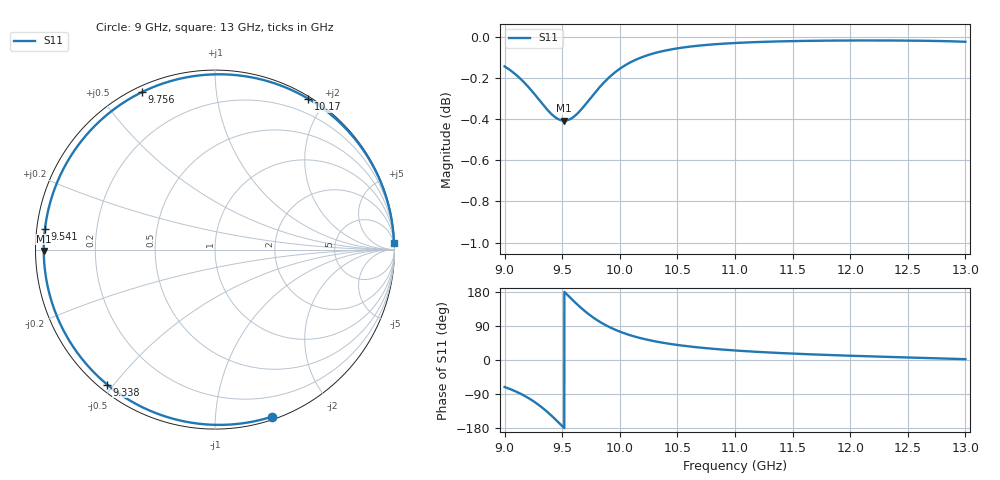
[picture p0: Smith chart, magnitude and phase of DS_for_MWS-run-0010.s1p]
! TOUCHSTONE file generated by CST DESIGN STUDIO
! Date and time: Tue Feb  4 17:03:26 2025
! Project name: C:\Work\MatlabApps\UnitCellOptimizationMatlab\CST\unitcell.cst
! Tree item: Tasks\Sweep1\SPara1\S-Parameters
! Header version: 2024
! Port assignment regex: !\s*Touchstone port\s*([0-9]+)\s*=\s*(CST MWS port|CST DES external port|CST DES block port)\s*(.+)\s* \(\"(.*)\"\)(\s*mode\s*([0-9]+))?.*
! Touchstone port assignment:
! Touchstone port 1 = CST DES external port 1 ("")
# GHz S MA R 50
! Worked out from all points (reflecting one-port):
!   4001 points, 9 GHz to 13 GHz, reference 50 ohm
!   lowest |S11| = -0.4 dB at 9.517 GHz (marker M1), VSWR 42.63, Z = 1.17 - j0.187 ohm
!   phase of S11 starts at -71 deg and turns -287 deg over the sweep
!   S11 on the Smith chart (normalised r, x): 9 GHz: 0.02, -1.39; 9.338 GHz: 0.02, -0.48; 9.541 GHz: 0.02, +0.06; 9.756 GHz: 0.02, +0.64; 10.17 GHz: 0.03, +1.80; 13 GHz: 4, +52
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9  0.9836 -71.3
9.094  0.9792 -82.6
9.199  0.9728 -99.0
9.272  0.9675 -113.3
9.338  0.9624 -128.6
9.382  0.9592 -140.0
9.428  0.9565 -152.9
9.5  0.9543 -174.4
9.517  0.9542 -179.6
9.541  0.9543 173.1
9.594  0.9559 157.2
9.654  0.9594 140.1
9.704  0.963 127.1
9.756  0.9671 115.0
9.806  0.9708 104.6
9.861  0.9747 94.6
9.93  0.9788 83.9
10  0.9823 74.9
10.083  0.9855 66.1
10.174  0.9882 58.2
10.322  0.9913 48.3
10.5  0.9936 39.7
10.721  0.9953 32.0
11  0.9965 25.1
11.5  0.9976 16.9
12  0.9979 11.2
12.5  0.9979 6.7
13  0.9972 2.2
